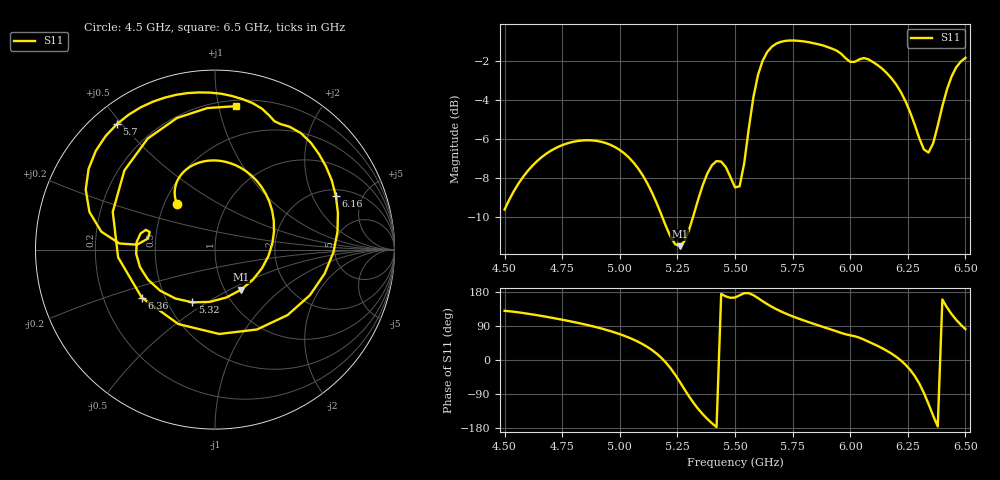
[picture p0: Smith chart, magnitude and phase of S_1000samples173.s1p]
! TOUCHSTONE file generated by CST MICROWAVE STUDIO
! Date and time: Thu Oct 27 06:08:34 2022
! Project name: L.cst
! Parameters = {Di=1.27; Epsilon_r=1.56; InnerDiameter=1.27; Length=2; Lf=10; Lg=60; OuterConductorThickness=0.2921; OuterDiameter=3.6; Wf=3; Wp=41.2; de=1.5; df=6.8; g=0.8; gx=0.76018; gy=0.826626; h=2.34; hf=1.524; px=12.902; py=8.30423; w=9.7; wx=12.1418; wy=7.47761}
! Header version: 2018
! Port assignment regex: !\s*Touchstone port\s*([0-9]+)\s*=\s*(CST MWS port|CST DS port)\s*([0-9]+|Zmin|Zmax)\s*\(\"(.*)\"\)(\s*mode\s*([0-9]+))?.*
! Touchstone port assignment:
! Touchstone port 1 = CST MWS port 1 ("")
# GHz S DB R 50
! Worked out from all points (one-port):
!   101 points, 4.5 GHz to 6.5 GHz, reference 50 ohm
!   lowest |S11| = -11.5 dB at 5.26 GHz (marker M1), VSWR 1.73, Z = 59.3 - j28.6 ohm
!   |S11| at or under -10 dB: 5.185 GHz to 5.318 GHz (133.1 MHz wide, 2.54 % of centre)
!   S11 on the Smith chart (normalised r, x): 4.5 GHz: 0.58, +0.33; 5.32 GHz: 0.66, -0.43; 5.7 GHz: 0.07, +0.49; 6.16 GHz: 2.33, +3.05; 6.36 GHz: 0.37, -0.26; 6.5 GHz: 0.25, +1.13
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4.5  -9.61 129.7
4.76  -6.28 105.1
5  -6.57 68.2
5.16  -9.29 16.8
5.26  -11.49 -57.3
5.32  -9.91 -113.1
5.4  -7.35 -167.0
5.46  -7.44 167.8
5.5  -8.48 164.9
5.52  -8.43 170.7
5.56  -5.46 176.3
5.62  -2.00 155.1
5.7  -1.04 128.0
5.76  -0.98 112.9
5.88  -1.22 87.8
6  -2.06 65.2
6.06  -1.87 53.7
6.16  -2.65 24.0
6.22  -3.61 -1.3
6.26  -4.63 -25.7
6.3  -5.97 -62.2
6.32  -6.54 -87.1
6.36  -6.23 -146.8
6.38  -5.33 -175.5
6.4  -4.33 159.7
6.42  -3.47 138.9
6.46  -2.35 106.1
6.5  -1.86 81.7
